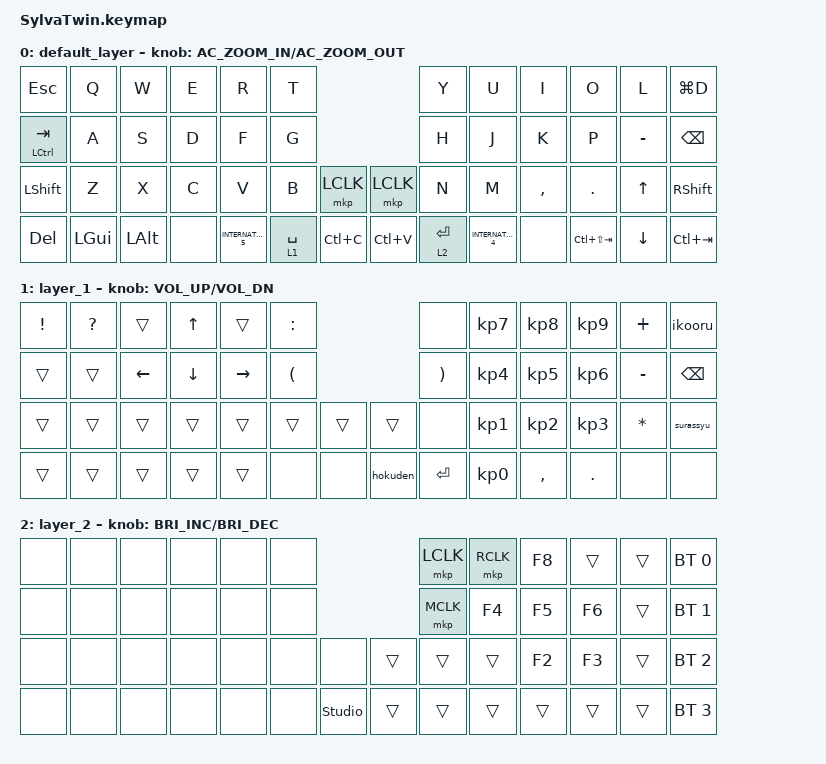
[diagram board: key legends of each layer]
/*
 * Copyright (c) 2020 The ZMK Contributors
 *
 * SPDX-License-Identifier: MIT
 */

#include <behaviors.dtsi>
#include <dt-bindings/zmk/bt.h>
#include <dt-bindings/zmk/keys.h>
#include <dt-bindings/zmk/pointing.h>

/ {
    combos {
        compatible = "zmk,combos";

        task {
            bindings = <&kp LG(TAB)>;
            key-positions = <6 7>;
        };

        RightClick {
            bindings = <&mkp RCLK>;
            key-positions = <15 16>;
        };

        MiddleClick {
            bindings = <&mkp MCLK>;
            key-positions = <3 15>;
        };

        LeftClick {
            bindings = <&mkp LCLK>;
            key-positions = <14 15>;
        };

        MiddleClick2 {
            bindings = <&mkp RCLK>;
            key-positions = <31 45>;
        };

        zen-han {
            bindings = <&kp GRAVE>;
            key-positions = <0 1>;
        };

        paste {
            bindings = <&none>;
            key-positions = <16 4>;
        };

        copy {
            bindings = <&none>;
            key-positions = <14 2>;
        };

        redo {
            bindings = <&kp LC(Z)>;
            key-positions = <11 10>;
        };

        prev_click {
            bindings = <&mkp MB4>;
            key-positions = <45 6>;
        };
    };

    macros {
        hokuden: new_macro {
            compatible = "zmk,behavior-macro";
            #binding-cells = <0>;
            bindings =
                <&kp LS(D) &kp N1 &kp MINUS &kp N2 &kp N1 &kp N1>,
                <&macro_press>;

            label = "NEW_MACRO";
        };

        surassyu: surassyu {
            compatible = "zmk,behavior-macro";
            #binding-cells = <0>;
            bindings = <&kp FSLH>, <&macro_press>;

            label = "SURASSYU";
        };

        ikooru: ikooru {
            compatible = "zmk,behavior-macro";
            #binding-cells = <0>;
            bindings = <&kp EQUAL>;
            label = "IKOORU";
        };
    };

    keymap {
        compatible = "zmk,keymap";

        default_layer {
            bindings = <
&kp ESC        &kp Q     &kp W     &kp E  &kp R                &kp T                              &kp Y        &kp U                &kp I      &kp O            &kp L      &kp LG(D)
&mt LCTRL TAB  &kp A     &kp S     &kp D  &kp F                &kp G                              &kp H        &kp J                &kp K      &kp P            &kp MINUS  &kp BACKSPACE
&kp LSHIFT     &kp Z     &kp X     &kp C  &kp V                &kp B        &mkp LCLK  &mkp LCLK  &kp N        &kp M                &kp COMMA  &kp DOT          &kp UP     &kp RSHIFT
&kp DEL        &kp LGUI  &kp LALT  &none  &kp INTERNATIONAL_5  &lt 1 SPACE  &kp LC(C)  &kp LC(V)  &lt 2 ENTER  &kp INTERNATIONAL_4  &none      &kp LC(LS(TAB))  &kp DOWN   &kp LC(TAB)
            >;

            sensor-bindings = <&inc_dec_kp C_AC_ZOOM_IN C_AC_ZOOM_OUT>;
        };

        layer_1 {
            bindings = <
&kp EXCLAMATION  &kp QUESTION  &trans          &kp UP_ARROW    &trans           &kp COLON                               &none                  &kp KP_NUMBER_7  &kp KP_NUMBER_8  &kp KP_NUMBER_9  &kp PLUS      &ikooru
&trans           &trans        &kp LEFT_ARROW  &kp DOWN_ARROW  &kp RIGHT_ARROW  &kp LEFT_PARENTHESIS                    &kp RIGHT_PARENTHESIS  &kp KP_NUMBER_4  &kp KP_NUMBER_5  &kp KP_NUMBER_6  &kp MINUS     &kp BACKSPACE
&trans           &trans        &trans          &trans          &trans           &trans                &trans  &trans    &none                  &kp KP_NUMBER_1  &kp KP_NUMBER_2  &kp KP_NUMBER_3  &kp ASTERISK  &surassyu
&trans           &trans        &trans          &trans          &trans           &none                 &none   &hokuden  &kp ENTER              &kp KP_NUMBER_0  &kp COMMA        &kp PERIOD       &none         &none
            >;

            sensor-bindings = <&inc_dec_kp C_VOL_UP C_VOL_DN>;
        };

        layer_2 {
            bindings = <
&none  &none  &none  &none  &none  &none                          &mkp LCLK  &mkp RCLK  &kp F8  &trans  &trans  &bt BT_SEL 0
&none  &none  &none  &none  &none  &none                          &mkp MCLK  &kp F4     &kp F5  &kp F6  &trans  &bt BT_SEL 1
&none  &none  &none  &none  &none  &none  &none           &trans  &trans     &trans     &kp F2  &kp F3  &trans  &bt BT_SEL 2
&none  &none  &none  &none  &none  &none  &studio_unlock  &trans  &trans     &trans     &trans  &trans  &trans  &bt BT_SEL 3
            >;

            sensor-bindings = <&inc_dec_kp C_BRIGHTNESS_INC C_BRIGHTNESS_DEC>;
        };
    };
};
